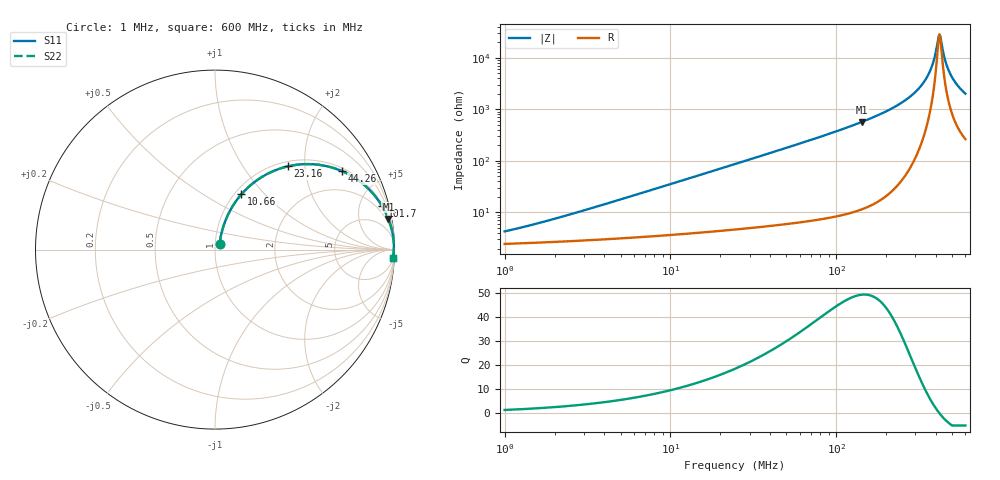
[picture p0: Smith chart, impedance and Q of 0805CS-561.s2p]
# MHz S MA R 50
!Freq  MagS11  AngS11  MagS21  AngS21  MagS12  AngS12  MagS22  AngS22
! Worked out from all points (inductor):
!   801 points, 1 MHz to 600 MHz, reference 50 ohm
!   read as one part in series: L = 560 nH near 2.353 MHz
!   highest Q = 49.3 at 142.3 MHz (marker M1), where L = 633 nH
!   self-resonance near 418.7 MHz
!   S11 on the Smith chart (normalised r, x): 1 MHz: 1.05, +0.07; 10.66 MHz: 1.07, +0.75; 23.16 MHz: 1.09, +1.63; 44.26 MHz: 1.11, +3.15; 101.7 MHz: 1.17, +7.60; 600 MHz: 6, -40
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1  0.04185 53.1  0.9755 -2.0  0.9755 -2.0  0.04185 53.1
2.919714  0.1031 68.8  0.9675 -5.7  0.9675 -5.7  0.1031 68.8
8.456837  0.2783 67.2  0.9284 -16.0  0.9284 -16.0  0.2783 67.2
10.6639  0.3421 64.5  0.9066 -19.9  0.9066 -19.9  0.3421 64.5
23.16151  0.6168 48.8  0.7534 -38.0  0.7534 -38.0  0.6168 48.8
24.4949  0.6379 47.3  0.7365 -39.6  0.7365 -39.6  0.6379 47.3
44.2644  0.8309 31.8  0.5272 -56.1  0.5272 -56.1  0.8309 31.8
71.5181  0.9248 20.9  0.3566 -67.6  0.3566 -67.6  0.9248 20.9
101.675  0.9619 14.6  0.253 -74.1  0.253 -74.1  0.9619 14.6
142.2549  0.9813 10.0  0.1734 -78.9  0.1734 -78.9  0.9813 10.0
207.1494  0.9923 5.9  0.1028 -82.7  0.1028 -82.7  0.9923 5.9
276.2488  0.996 3.3  0.05794 -84.4  0.05794 -84.4  0.996 3.3
334.6917  0.9969 1.8  0.03074 -83.2  0.03074 -83.2  0.9969 1.8
374.3369  0.9968 0.9  0.01558 -77.9  0.01558 -77.9  0.9968 0.9
389.6064  0.9968 0.6  0.01037 -71.4  0.01037 -71.4  0.9968 0.6
408.7542  0.9966 0.2  0.004809 -44.4  0.004809 -44.4  0.9966 0.2
418.6781  0.9965 0.0  0.003546 -2.3  0.003546 -2.3  0.9965 0.0
428.843  0.9963 -0.2  0.004801 39.9  0.004801 39.9  0.9963 -0.2
460.8425  0.9958 -0.7  0.01345 71.5  0.01345 71.5  0.9958 -0.7
487.3729  0.9953 -1.2  0.02087 76.4  0.02087 76.4  0.9953 -1.2
536.4554  0.9941 -1.9  0.03392 79.0  0.03392 79.0  0.9941 -1.9
600  0.9923 -2.8  0.04954 79.6  0.04954 79.6  0.9923 -2.8
